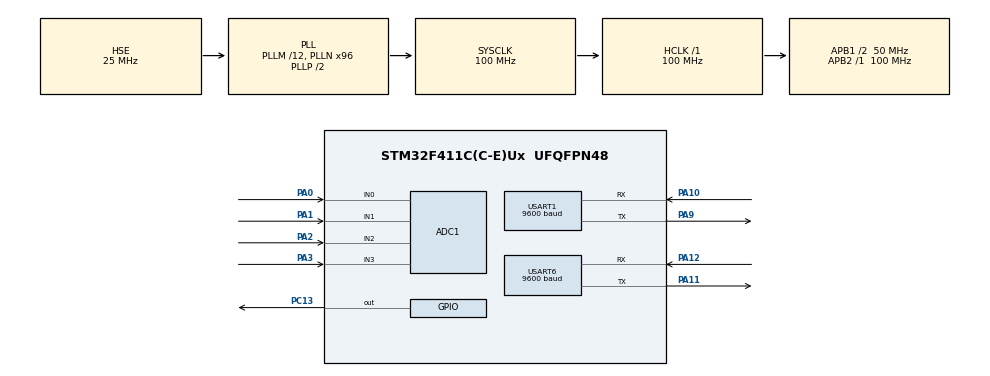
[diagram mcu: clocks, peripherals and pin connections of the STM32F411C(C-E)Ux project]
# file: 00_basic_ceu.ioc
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ADC1.Channel-4\#ChannelRegularConversion=ADC_CHANNEL_0
ADC1.Channel-5\#ChannelRegularConversion=ADC_CHANNEL_1
ADC1.Channel-6\#ChannelRegularConversion=ADC_CHANNEL_2
ADC1.Channel-7\#ChannelRegularConversion=ADC_CHANNEL_3
ADC1.NbrOfConversion=4
ADC1.NbrOfConversionFlag=1
ADC1.Rank-4\#ChannelRegularConversion=1
ADC1.Rank-5\#ChannelRegularConversion=2
ADC1.Rank-6\#ChannelRegularConversion=3
ADC1.Rank-7\#ChannelRegularConversion=4
ADC1.SamplingTime-4\#ChannelRegularConversion=ADC_SAMPLETIME_84CYCLES
ADC1.SamplingTime-5\#ChannelRegularConversion=ADC_SAMPLETIME_84CYCLES
ADC1.SamplingTime-6\#ChannelRegularConversion=ADC_SAMPLETIME_84CYCLES
ADC1.SamplingTime-7\#ChannelRegularConversion=ADC_SAMPLETIME_84CYCLES
ADC1.master=1
Mcu.Family=STM32F4
Mcu.Name=STM32F411C(C-E)Ux
Mcu.Package=UFQFPN48
NVIC.PriorityGroup=NVIC_PRIORITYGROUP_4
NVIC.USART6_IRQn=true\:0\:0\:false\:false\:true\:true\:true\:true
PA0-WKUP.Signal=ADCx_IN0
PA1.Signal=ADCx_IN1
PA10.Mode=Asynchronous
PA10.Signal=USART1_RX
PA11.Mode=Asynchronous
PA11.Signal=USART6_TX
PA12.Mode=Asynchronous
PA12.Signal=USART6_RX
PA13.Mode=Serial_Wire
PA13.Signal=SYS_JTMS-SWDIO
PA14.Mode=Serial_Wire
PA14.Signal=SYS_JTCK-SWCLK
PA2.Signal=ADCx_IN2
PA3.Signal=ADCx_IN3
PA9.Mode=Asynchronous
PA9.Signal=USART1_TX
PC13-ANTI_TAMP.Signal=GPIO_Output
PH0\ -\ OSC_IN.Mode=HSE-External-Oscillator
PH0\ -\ OSC_IN.Signal=RCC_OSC_IN
PH1\ -\ OSC_OUT.Mode=HSE-External-Oscillator
PH1\ -\ OSC_OUT.Signal=RCC_OSC_OUT
ProjectManager.HeapSize=0x200
ProjectManager.StackSize=0x400
ProjectManager.TargetToolchain=STM32CubeIDE
RCC.48MHZClocksFreq_Value=50000000
RCC.AHBFreq_Value=100000000
RCC.APB1CLKDivider=RCC_HCLK_DIV2
RCC.APB1Freq_Value=50000000
RCC.APB1TimFreq_Value=100000000
RCC.APB2Freq_Value=100000000
RCC.APB2TimFreq_Value=100000000
RCC.CortexFreq_Value=100000000
RCC.HCLKFreq_Value=100000000
RCC.HSE_VALUE=25000000
RCC.HSI_VALUE=16000000
RCC.LSE_VALUE=32768
RCC.PLLM=12
RCC.PLLN=96
RCC.PLLSourceVirtual=RCC_PLLSOURCE_HSE
RCC.SYSCLKFreq_VALUE=100000000
RCC.SYSCLKSource=RCC_SYSCLKSOURCE_PLLCLK
RCC.VCOOutputFreq_Value=200000000
SH.ADCx_IN0.0=ADC1_IN0,IN0
SH.ADCx_IN1.0=ADC1_IN1,IN1
SH.ADCx_IN2.0=ADC1_IN2,IN2
SH.ADCx_IN3.0=ADC1_IN3,IN3
USART1.BaudRate=9600
USART1.VirtualMode=VM_ASYNC
USART6.BaudRate=9600
USART6.VirtualMode=VM_ASYNC
board=custom

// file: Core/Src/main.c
/* USER CODE BEGIN Header */
/**
  ******************************************************************************
  * @file           : main.c
  * @brief          : Main program body
  ******************************************************************************
  * @attention
  *
  * Copyright (c) 2025 STMicroelectronics.
  * All rights reserved.
  *
  * This software is licensed under terms that can be found in the LICENSE file
  * in the root directory of this software component.
  * If no LICENSE file comes with this software, it is provided AS-IS.
  *
  ******************************************************************************
  */
/* USER CODE END Header */
#include "main.h"

/* USER CODE BEGIN Includes */

#include "stdio.h"

/* USER CODE END Includes */

ADC_HandleTypeDef hadc1;

UART_HandleTypeDef huart1;
UART_HandleTypeDef huart6;

/* USER CODE BEGIN PV */

char rxData1;
char rxData6;

/* USER CODE END PV */

void SystemClock_Config(void);
static void MX_GPIO_Init(void);
static void MX_ADC1_Init(void);
static void MX_USART1_UART_Init(void);
static void MX_USART6_UART_Init(void);
/* USER CODE BEGIN PFP */

int _write(int file, unsigned char* p, int len)
	{
	    HAL_StatusTypeDef status = HAL_UART_Transmit(&huart6, p, len, 100);
	    return (status == HAL_OK ? len : 0);
	}

void HAL_UART_RxCpltCallback(UART_HandleTypeDef *huart)
{
	if(huart->Instance == USART6)
	{
	   HAL_UART_Receive_IT(&huart6, &rxData6, 1);
//	   HAL_UART_Transmit(&huart6, &rxData6, sizeof(rxData6), HAL_MAX_DELAY );
	   HAL_UART_Transmit(&huart1, &rxData6, sizeof(rxData6), HAL_MAX_DELAY );
	}

	else if(huart->Instance == USART1)   //블루투스
    {
		HAL_UART_Receive_IT(&huart1, &rxData1, 1);
		HAL_UART_Transmit(&huart6, &rxData1, sizeof(rxData1), HAL_MAX_DELAY);
	}

}

/* USER CODE END PFP */

int main(void)
{

  /* MCU Configuration--------------------------------------------------------*/

  /* Reset of all peripherals, Initializes the Flash interface and the Systick. */
  HAL_Init();

  /* Configure the system clock */
  SystemClock_Config();

  /* Initialize all configured peripherals */
  MX_GPIO_Init();
  MX_ADC1_Init();
  MX_USART1_UART_Init();
  MX_USART6_UART_Init();
  /* USER CODE BEGIN 2 */

  HAL_UART_Receive_IT(&huart1, &rxData1, 1);
  HAL_UART_Receive_IT(&huart6, &rxData6, 1);

//  HAL_Delay(2000); // HC-06 전원 안정화 대기

//     printf("\r\n=== HC-06 AT Command Test Start ===\r\n");
//
//     // 이름 변경
//     char msg1[] = "AT+NAMEljs2\r\n";
//     HAL_UART_Transmit(&huart1, (uint8_t*)msg1, strlen(msg1), HAL_MAX_DELAY);
//     printf("Sent: %s\r\n", msg1);
//
//     HAL_Delay(1000); // 명령 처리 대기
//
//     // 주소 요청
//     char msg2[] = "AT+ADDR?\r\n";
//     HAL_UART_Transmit(&huart1, (uint8_t*)msg2, strlen(msg2), HAL_MAX_DELAY);
//     printf("Sent: %s\r\n", msg2);

  /* USER CODE END 2 */

  /* Infinite loop */
  /* USER CODE BEGIN WHILE */
  while (1)
  {
HAL_GPIO_TogglePin(GPIOC, GPIO_PIN_13);

    /* USER CODE END WHILE */

  }
}

void SystemClock_Config(void)
{
  RCC_OscInitTypeDef RCC_OscInitStruct = {0};
  RCC_ClkInitTypeDef RCC_ClkInitStruct = {0};

  /** Configure the main internal regulator output voltage
  */
  __HAL_RCC_PWR_CLK_ENABLE();
  __HAL_PWR_VOLTAGESCALING_CONFIG(PWR_REGULATOR_VOLTAGE_SCALE1);

  /** Initializes the RCC Oscillators according to the specified parameters
  * in the RCC_OscInitTypeDef structure.
  */
  RCC_OscInitStruct.OscillatorType = RCC_OSCILLATORTYPE_HSE;
  RCC_OscInitStruct.HSEState = RCC_HSE_ON;
  RCC_OscInitStruct.PLL.PLLState = RCC_PLL_ON;
  RCC_OscInitStruct.PLL.PLLSource = RCC_PLLSOURCE_HSE;
  RCC_OscInitStruct.PLL.PLLM = 12;
  RCC_OscInitStruct.PLL.PLLN = 96;
  RCC_OscInitStruct.PLL.PLLP = RCC_PLLP_DIV2;
  RCC_OscInitStruct.PLL.PLLQ = 4;
  if (HAL_RCC_OscConfig(&RCC_OscInitStruct) != HAL_OK)
  {
    Error_Handler();
  }

  /** Initializes the CPU, AHB and APB buses clocks
  */
  RCC_ClkInitStruct.ClockType = RCC_CLOCKTYPE_HCLK|RCC_CLOCKTYPE_SYSCLK
                              |RCC_CLOCKTYPE_PCLK1|RCC_CLOCKTYPE_PCLK2;
  RCC_ClkInitStruct.SYSCLKSource = RCC_SYSCLKSOURCE_PLLCLK;
  RCC_ClkInitStruct.AHBCLKDivider = RCC_SYSCLK_DIV1;
  RCC_ClkInitStruct.APB1CLKDivider = RCC_HCLK_DIV2;
  RCC_ClkInitStruct.APB2CLKDivider = RCC_HCLK_DIV1;

  if (HAL_RCC_ClockConfig(&RCC_ClkInitStruct, FLASH_LATENCY_3) != HAL_OK)
  {
    Error_Handler();
  }
}

static void MX_ADC1_Init(void)
{

  ADC_ChannelConfTypeDef sConfig = {0};

  /** Configure the global features of the ADC (Clock, Resolution, Data Alignment and number of conversion)
  */
  hadc1.Instance = ADC1;
  hadc1.Init.ClockPrescaler = ADC_CLOCK_SYNC_PCLK_DIV4;
  hadc1.Init.Resolution = ADC_RESOLUTION_12B;
  hadc1.Init.ScanConvMode = ENABLE;
  hadc1.Init.ContinuousConvMode = DISABLE;
  hadc1.Init.DiscontinuousConvMode = DISABLE;
  hadc1.Init.ExternalTrigConvEdge = ADC_EXTERNALTRIGCONVEDGE_NONE;
  hadc1.Init.ExternalTrigConv = ADC_SOFTWARE_START;
  hadc1.Init.DataAlign = ADC_DATAALIGN_RIGHT;
  hadc1.Init.NbrOfConversion = 4;
  hadc1.Init.DMAContinuousRequests = DISABLE;
  hadc1.Init.EOCSelection = ADC_EOC_SINGLE_CONV;
  if (HAL_ADC_Init(&hadc1) != HAL_OK)
  {
    Error_Handler();
  }

  /** Configure for the selected ADC regular channel its corresponding rank in the sequencer and its sample time.
  */
  sConfig.Channel = ADC_CHANNEL_0;
  sConfig.Rank = 1;
  sConfig.SamplingTime = ADC_SAMPLETIME_84CYCLES;
  if (HAL_ADC_ConfigChannel(&hadc1, &sConfig) != HAL_OK)
  {
    Error_Handler();
  }

  /** Configure for the selected ADC regular channel its corresponding rank in the sequencer and its sample time.
  */
  sConfig.Channel = ADC_CHANNEL_1;
  sConfig.Rank = 2;
  if (HAL_ADC_ConfigChannel(&hadc1, &sConfig) != HAL_OK)
  {
    Error_Handler();
  }

  /** Configure for the selected ADC regular channel its corresponding rank in the sequencer and its sample time.
  */
  sConfig.Channel = ADC_CHANNEL_2;
  sConfig.Rank = 3;
  if (HAL_ADC_ConfigChannel(&hadc1, &sConfig) != HAL_OK)
  {
    Error_Handler();
  }

  /** Configure for the selected ADC regular channel its corresponding rank in the sequencer and its sample time.
  */
  sConfig.Channel = ADC_CHANNEL_3;
  sConfig.Rank = 4;
  if (HAL_ADC_ConfigChannel(&hadc1, &sConfig) != HAL_OK)
  {
    Error_Handler();
  }

}

static void MX_USART1_UART_Init(void)
{

  huart1.Instance = USART1;
  huart1.Init.BaudRate = 9600;
  huart1.Init.WordLength = UART_WORDLENGTH_8B;
  huart1.Init.StopBits = UART_STOPBITS_1;
  huart1.Init.Parity = UART_PARITY_NONE;
  huart1.Init.Mode = UART_MODE_TX_RX;
  huart1.Init.HwFlowCtl = UART_HWCONTROL_NONE;
  huart1.Init.OverSampling = UART_OVERSAMPLING_16;
  if (HAL_UART_Init(&huart1) != HAL_OK)
  {
    Error_Handler();
  }

}

static void MX_USART6_UART_Init(void)
{

  huart6.Instance = USART6;
  huart6.Init.BaudRate = 9600;
  huart6.Init.WordLength = UART_WORDLENGTH_8B;
  huart6.Init.StopBits = UART_STOPBITS_1;
  huart6.Init.Parity = UART_PARITY_NONE;
  huart6.Init.Mode = UART_MODE_TX_RX;
  huart6.Init.HwFlowCtl = UART_HWCONTROL_NONE;
  huart6.Init.OverSampling = UART_OVERSAMPLING_16;
  if (HAL_UART_Init(&huart6) != HAL_OK)
  {
    Error_Handler();
  }

}

static void MX_GPIO_Init(void)
{
  GPIO_InitTypeDef GPIO_InitStruct = {0};

  /* GPIO Ports Clock Enable */
  __HAL_RCC_GPIOC_CLK_ENABLE();
  __HAL_RCC_GPIOH_CLK_ENABLE();
  __HAL_RCC_GPIOA_CLK_ENABLE();

  /*Configure GPIO pin Output Level */
  HAL_GPIO_WritePin(GPIOC, GPIO_PIN_13, GPIO_PIN_RESET);

  /*Configure GPIO pin : PC13 */
  GPIO_InitStruct.Pin = GPIO_PIN_13;
  GPIO_InitStruct.Mode = GPIO_MODE_OUTPUT_PP;
  GPIO_InitStruct.Pull = GPIO_NOPULL;
  GPIO_InitStruct.Speed = GPIO_SPEED_FREQ_LOW;
  HAL_GPIO_Init(GPIOC, &GPIO_InitStruct);

}

void Error_Handler(void)
{
  __disable_irq();
  while (1)
  {
  }
}
